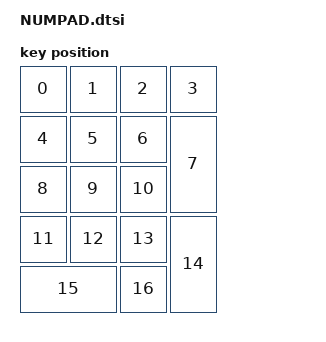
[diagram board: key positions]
#include <physical_layouts.dtsi>
#include "position_map.dtsi"

/ {
    qaz_num_ble_numpad_layout: qaz_num_ble_numpad_layout {
        compatible = "zmk,physical-layout";
        display-name = "NUMPAD";
        transform = <&default_transform>;
        kscan = <&kscan0>;
        
        keys  //                     w   h    x    y     rot    rx    ry
            = <&key_physical_attrs 100 100    0    0       0     0     0>
            , <&key_physical_attrs 100 100  100    0       0     0     0>
            , <&key_physical_attrs 100 100  200    0       0     0     0>
            , <&key_physical_attrs 100 100  300    0       0     0     0>
            , <&key_physical_attrs 100 100    0  100       0     0     0>
            , <&key_physical_attrs 100 100  100  100       0     0     0>
            , <&key_physical_attrs 100 100  200  100       0     0     0>
            , <&key_physical_attrs 100 200  300  100       0     0     0>
            , <&key_physical_attrs 100 100    0  200       0     0     0>
            , <&key_physical_attrs 100 100  100  200       0     0     0>
            , <&key_physical_attrs 100 100  200  200       0     0     0>

            , <&key_physical_attrs 100 100    0  300       0     0     0>
            , <&key_physical_attrs 100 100  100  300       0     0     0>
            , <&key_physical_attrs 100 100  200  300       0     0     0>
            , <&key_physical_attrs 100 200  300  300       0     0     0>
            , <&key_physical_attrs 200 100    0  400       0     0     0>

            , <&key_physical_attrs 100 100  200  400       0     0     0>

            ;
    };
};

&layouts_qaz_num_ble_position_map {
    qaz_num_ble_numpad_posmap: qaz_num_ble_numpad_posmap {
        physical-layout = <&qaz_num_ble_numpad_layout>;
        positions
                = <7 14 15>;
    };
};
